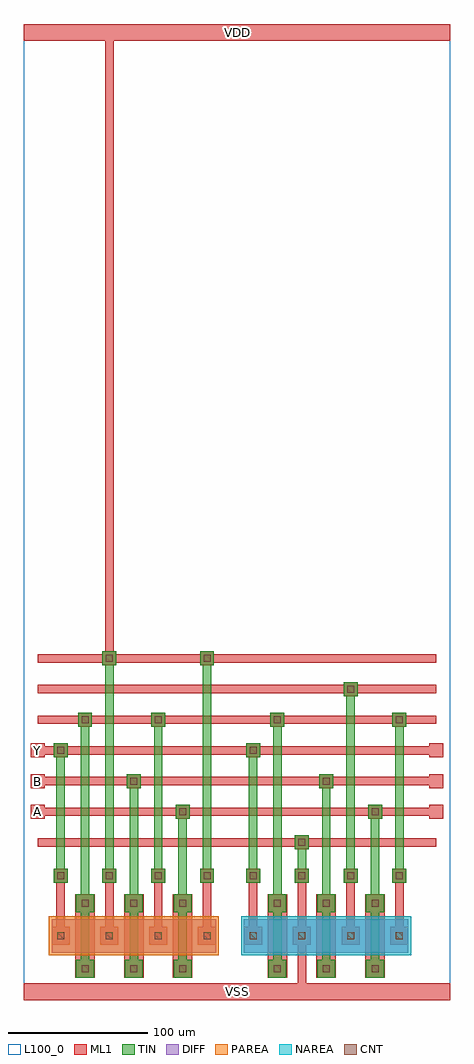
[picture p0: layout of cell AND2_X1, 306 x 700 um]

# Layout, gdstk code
import gdstk
lib = gdstk.Library(unit=1e-6, precision=1e-09)
def R(c, l, rs):  # rectangles x0, y0, x1, y1
    for r in rs: c.add(gdstk.rectangle(r[:2], r[2:], *l))
def A(c, l, x, y, w, h, nx, ny, dx, dy):  # array of equal rectangles
    R(c, l, [(x+i*dx, y+j*dy, x+i*dx+w, y+j*dy+h) for i in range(nx) for j in range(ny)])
DIFF = (3, 0)
TIN = (5, 0)
CNT = (7, 0)
ML1 = (8, 0)
PAREA = (18, 0)
NAREA = (19, 0)
L100_0 = (100, 0)

and2_x1 = lib.new_cell('AND2_X1')
R(and2_x1, DIFF, [(20,34,138,58), (158,34,276,58)])
A(and2_x1, TIN, 37.5, 16, 13, 13, 3, 2, 35, 47)
A(and2_x1, TIN, 175.5, 16, 13, 13, 3, 2, 35, 47)
A(and2_x1, TIN, 41, 28, 6, 37.5, 3, 1, 35, 0)
A(and2_x1, TIN, 179, 28, 6, 37.5, 3, 1, 35, 0)
A(and2_x1, TIN, 21.5, 84, 10, 10, 4, 1, 35, 0)
A(and2_x1, TIN, 159.5, 84, 10, 10, 4, 1, 35, 0)
R(and2_x1, TIN, [(41,69.5,47,201), (76,69.5,82,157), (111,69.5,117,135), (179,69.5,185,201), (214,69.5,220,157), (249,69.5,255,135), (23.5,89,29.5,179), (58.5,89,64.5,245), (93.5,89,99.5,201), (128.5,89,134.5,245), (161.5,89,167.5,179), (196.5,89,202.5,113), (231.5,89,237.5,223), (266.5,89,272.5,201), (194.5,108,204.5,118), (109,130,119,140), (247,130,257,140), (74,152,84,162), (212,152,222,162), (21.5,174,31.5,184), (159.5,174,169.5,184), (39,196,49,206), (91.5,196,101.5,206), (177,196,187,206), (264.5,196,274.5,206), (229.5,218,239.5,228), (56.5,240,66.5,250), (126.5,240,136.5,250)])
A(and2_x1, CNT, 41.5, 20, 5, 5, 3, 2, 35, 47)
A(and2_x1, CNT, 179.5, 20, 5, 5, 3, 2, 35, 47)
A(and2_x1, CNT, 24, 43.5, 5, 5, 4, 2, 35, 43)
A(and2_x1, CNT, 162, 43.5, 5, 5, 4, 2, 35, 43)
R(and2_x1, CNT, [(197,110.5,202,115.5), (111.5,132.5,116.5,137.5), (249.5,132.5,254.5,137.5), (76.5,154.5,81.5,159.5), (214.5,154.5,219.5,159.5), (24,176.5,29,181.5), (162,176.5,167,181.5), (41.5,198.5,46.5,203.5), (94,198.5,99,203.5), (179.5,198.5,184.5,203.5), (267,198.5,272,203.5), (232,220.5,237,225.5), (59,242.5,64,247.5), (129,242.5,134,247.5)])
A(and2_x1, ML1, 37, 16, 14, 60, 3, 1, 35, 0)
A(and2_x1, ML1, 37.5, 16, 13, 13, 3, 2, 35, 47)
A(and2_x1, ML1, 175, 16, 14, 60, 3, 1, 35, 0)
A(and2_x1, ML1, 175.5, 16, 13, 13, 3, 2, 35, 47)
A(and2_x1, ML1, 20, 39.5, 13, 13, 4, 1, 35, 0)
A(and2_x1, ML1, 158, 39.5, 13, 13, 4, 1, 35, 0)
A(and2_x1, ML1, 23.5, 46, 6, 43, 4, 1, 35, 0)
A(and2_x1, ML1, 161.5, 46, 6, 43, 4, 1, 35, 0)
A(and2_x1, ML1, 21.5, 84, 10, 10, 4, 1, 35, 0)
A(and2_x1, ML1, 159.5, 84, 10, 10, 4, 1, 35, 0)
A(and2_x1, ML1, 10, 110, 286, 6, 1, 7, 0, 22)
A(and2_x1, ML1, 5, 130, 10, 10, 1, 3, 0, 22)
A(and2_x1, ML1, 291, 130, 10, 10, 1, 3, 0, 22)
R(and2_x1, ML1, [(0,0,306,12), (196.5,3,202.5,92), (194.5,108,204.5,118), (109,130,119,140), (247,130,257,140), (74,152,84,162), (212,152,222,162), (21.5,174,31.5,184), (159.5,174,169.5,184), (39,196,49,206), (91.5,196,101.5,206), (177,196,187,206), (264.5,196,274.5,206), (229.5,218,239.5,228), (56.5,240,66.5,250), (126.5,240,136.5,250), (58.5,242,64.5,697), (0,688,306,700)])
R(and2_x1, PAREA, [(18,32,140,60)])
R(and2_x1, NAREA, [(156,32,278,60)])
R(and2_x1, L100_0, [(0,0,306,700)])
and2_x1.add(gdstk.Label('A', (10,135), layer=13, texttype=0))
and2_x1.add(gdstk.Label('B', (10,157), layer=13, texttype=0))
and2_x1.add(gdstk.Label('Y', (10,179), layer=13, texttype=0))
and2_x1.add(gdstk.Label('VDD', (153,694), layer=13, texttype=0))
and2_x1.add(gdstk.Label('VSS', (153,6), layer=13, texttype=0))

lib.write_gds('AND2_X1.gds')
